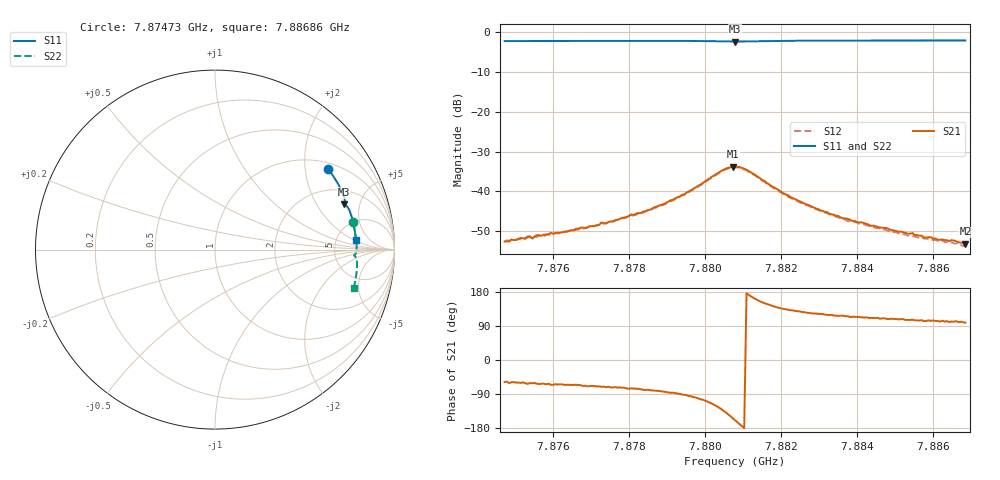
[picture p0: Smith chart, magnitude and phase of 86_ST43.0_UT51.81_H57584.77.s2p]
#  HZ  S  DB  R  50.00
! Rohde & Schwarz Vector Network Analyzer
! Rohde-Schwarz,ZNB20-2Port,1311601062101988,3.16
! Created: UTC 1/12/2023, 6:35:35 PM
! freq[Hz]  db:S11  ang:S11  db:S21  ang:S21  db:S12  ang:S12  db:S22  ang:S22
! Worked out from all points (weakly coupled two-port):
!   201 points, 7.87473 GHz to 7.88686 GHz, reference 50 ohm
!   highest |S21| = -33.81 dB at 7.88073 GHz (marker M1); lowest = -53.2 dB at 7.88686 GHz (marker M2)
!   lowest |S11| = -2.3 dB at 7.88079 GHz (marker M3), VSWR 7.44, Z = 148 + j178 ohm
!   |S11| at or under -10 dB: nowhere
!   |S22| runs from -2.2 to -1.9 dB; largest |S21 - S12| = 0.0013
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7.874729e9  -2.23 35.3  -52.65 -58.2  -52.71 -61.8  -2.14 11.3
7.875396e9  -2.22 33.4  -51.31 -60.9  -51.64 -64.1  -2.12 9.7
7.875457e9  -2.22 33.3  -51.88 -61.2  -51.45 -65.2  -2.12 9.5
7.875578e9  -2.22 33.0  -51.04 -62.6  -51.49 -66.8  -2.13 9.2
7.876791e9  -2.20 29.7  -49.12 -68.5  -49.44 -72.0  -2.09 6.4
7.87758e9  -2.19 27.5  -47.63 -72.4  -47.56 -75.3  -2.07 4.5
7.878793e9  -2.18 24.1  -43.61 -81.6  -43.79 -85.0  -2.06 1.7
7.87946e9  -2.19 22.2  -40.76 -91.8  -40.86 -95.5  -2.06 0.0
7.88043e9  -2.30 19.6  -34.89 -129.3  -35.11 -132.9  -2.17 -2.2
7.880734e9  -2.35 19.3  -33.81 -153.6  -34.03 -156.9  -2.22 -2.4
7.880794e9  -2.35 19.3  -33.82 -158.8  -33.98 -162.3  -2.22 -2.4
7.881098e9  -2.31 19.0  -34.60 176.0  -34.80 172.7  -2.18 -2.5
7.882189e9  -2.16 16.2  -41.00 132.7  -41.41 129.0  -2.01 -4.8
7.882857e9  -2.13 14.3  -44.03 122.6  -44.25 119.7  -1.98 -6.4
7.883766e9  -2.11 11.9  -46.94 115.5  -47.55 110.9  -1.96 -8.5
7.884858e9  -2.10 9.0  -49.57 108.2  -50.04 104.7  -1.94 -10.9
7.886193e9  -2.08 5.5  -52.20 101.4  -52.67 99.8  -1.92 -13.8
7.886253e9  -2.08 5.3  -52.12 103.7  -52.30 99.3  -1.93 -14.0
7.886314e9  -2.08 5.2  -52.27 101.4  -52.81 99.0  -1.93 -14.1
7.886678e9  -2.08 4.2  -52.81 99.7  -53.01 100.1  -1.92 -14.8
7.886799e9  -2.08 3.9  -52.91 99.6  -53.80 95.2  -1.92 -15.1
7.88686e9  -2.08 3.7  -53.21 98.7  -53.20 95.7  -1.92 -15.3
